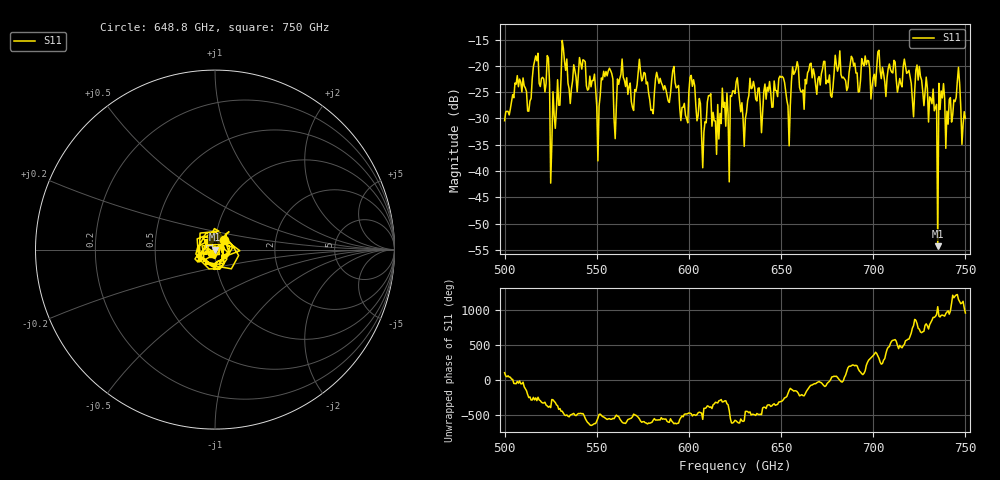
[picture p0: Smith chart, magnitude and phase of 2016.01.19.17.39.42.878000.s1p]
!Created with skrf (http://scikit-rf.org).
# GHz S RI R 50.0
!freq ReS11 ImS11
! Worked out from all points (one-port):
!   401 points, 500 GHz to 750 GHz, reference 50 ohm
!   lowest |S11| = -54.3 dB at 735 GHz (marker M1), VSWR 1.00, Z = 50.2 - j0.0978 ohm
!   |S11| at or under -10 dB: start of sweep to end of sweep
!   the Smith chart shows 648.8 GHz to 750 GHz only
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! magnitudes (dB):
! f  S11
! 500 GHz  -30.4
! 506.9 GHz  -21.9
! 513.1 GHz  -28.6
! 516.9 GHz  -18.1
! 523.1 GHz  -18.1
! 526.2 GHz  -24.9
! 531.2 GHz  -15.2
! 542.5 GHz  -18.8
! 550.6 GHz  -38.1
! 553.8 GHz  -21.0
! 562.5 GHz  -22.4
! 593.8 GHz  -24.0
! 598.1 GHz  -29.4
! 601.9 GHz  -23.9
! 608.1 GHz  -32.6
! 610.6 GHz  -25.7
! 620.6 GHz  -25.2
! 625 GHz  -25.3
! 630 GHz  -35.3
! 634.4 GHz  -24.2
! 650.6 GHz  -22.0
! 653.8 GHz  -27.6
! 656.2 GHz  -20.2
! 687.5 GHz  -19.8
! 718.8 GHz  -21.2
! 735 GHz  -54.3
! 736.9 GHz  -24.8
! 750 GHz  -30.0
